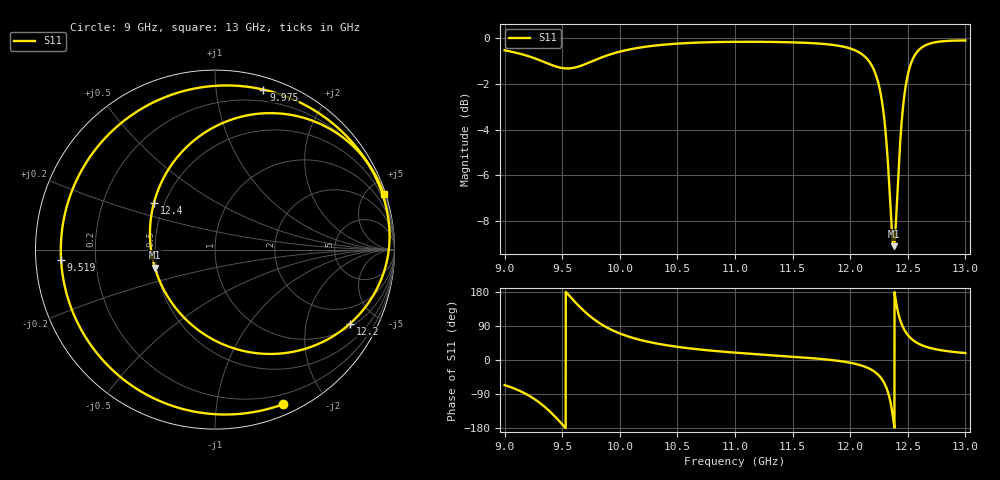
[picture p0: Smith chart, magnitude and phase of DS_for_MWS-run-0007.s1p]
! TOUCHSTONE file generated by CST DESIGN STUDIO
! Date and time: Tue Feb  4 17:47:22 2025
! Project name: C:\Work\MatlabApps\UnitCellOptimizationMatlab\CST\unitcell.cst
! Tree item: Tasks\Sweep1\SPara1\S-Parameters
! Header version: 2024
! Port assignment regex: !\s*Touchstone port\s*([0-9]+)\s*=\s*(CST MWS port|CST DES external port|CST DES block port)\s*(.+)\s* \(\"(.*)\"\)(\s*mode\s*([0-9]+))?.*
! Touchstone port assignment:
! Touchstone port 1 = CST DES external port 1 ("")
# GHz S MA R 50
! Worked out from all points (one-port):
!   4001 points, 9 GHz to 13 GHz, reference 50 ohm
!   lowest |S11| = -9.1 dB at 12.38 GHz (marker M1), VSWR 2.08, Z = 24.5 - j5.57 ohm
!   |S11| at or under -10 dB: nowhere
!   S11 on the Smith chart (normalised r, x): 9 GHz: 0.10, -1.53; 9.519 GHz: 0.08, -0.03; 9.975 GHz: 0.10, +1.34; 12.2 GHz: 1.14, -3.57; 12.4 GHz: 0.44, +0.28; 13 GHz: 0.21, +6.17
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9  0.9415 -66.2
9.144  0.9238 -83.3
9.293  0.8979 -110.3
9.394  0.8769 -136.2
9.5  0.8608 -169.7
9.519  0.8596 -176.1
9.61  0.8628 153.5
9.729  0.884 118.8
9.835  0.9068 95.2
9.975  0.9315 73.2
10  0.9351 70.1
10.215  0.9579 50.2
10.5  0.9737 34.7
11  0.9827 19.4
11.5  0.98 8.8
12  0.9501 -7.3
12.12  0.9154 -16.8
12.201  0.8582 -28.7
12.261  0.7642 -44.9
12.313  0.5986 -72.2
12.345  0.4477 -104.6
12.377  0.35 -163.4
12.404  0.428 142.8
12.448  0.6615 93.8
12.5  0.832 65.9
12.566  0.9229 47.8
12.656  0.9662 35.2
13  0.9895 18.4
